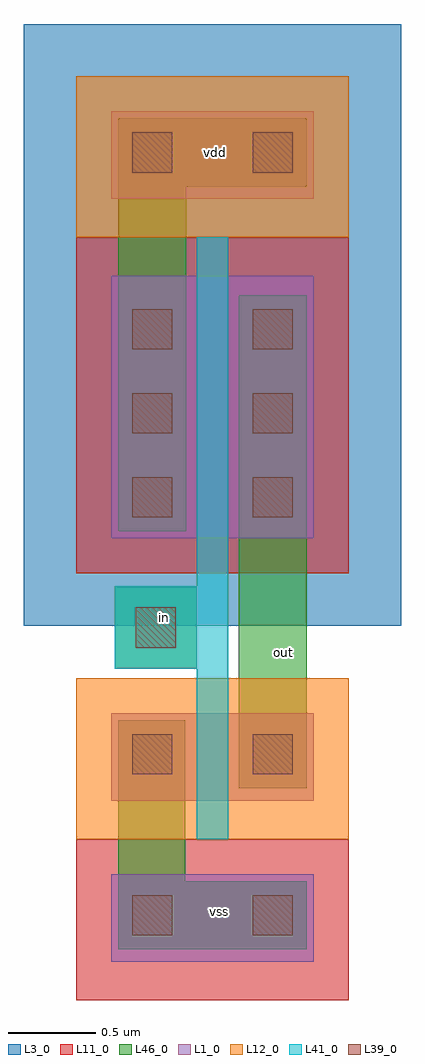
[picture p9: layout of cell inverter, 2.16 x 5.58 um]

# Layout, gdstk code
import gdstk
lib = gdstk.Library(unit=1e-6, precision=1e-09)
def R(c, l, rs):  # rectangles x0, y0, x1, y1
    for r in rs: c.add(gdstk.rectangle(r[:2], r[2:], *l))
def A(c, l, x, y, w, h, nx, ny, dx, dy):  # array of equal rectangles
    R(c, l, [(x+i*dx, y+j*dy, x+i*dx+w, y+j*dy+h) for i in range(nx) for j in range(ny)])
L1_0 = (1, 0)
L3_0 = (3, 0)
L11_0 = (11, 0)
L12_0 = (12, 0)
L39_0 = (39, 0)
L41_0 = (41, 0)
L46_0 = (46, 0)

inverter = lib.new_cell('inverter')
R(inverter, L1_0, [(-0.465,-1.52,0.695,-1.02), (-0.465,-0.6,0.695,-0.1), (-0.465,0.9,0.695,2.4), (-0.465,2.84,0.695,3.34)])
R(inverter, L3_0, [(-0.965,0.4,1.195,3.84)])
R(inverter, L11_0, [(-0.665,-1.74,0.895,-0.82), (-0.665,0.7,0.895,2.62)])
R(inverter, L12_0, [(-0.665,-0.82,0.895,0.1), (-0.665,2.62,0.895,3.54)])
A(inverter, L39_0, -0.345, 1.02, 0.23, 0.23, 1, 3, 0, 0.48)
A(inverter, L39_0, 0.345, 1.02, 0.23, 0.23, 1, 3, 0, 0.48)
R(inverter, L39_0, [(-0.345,-1.37,-0.115,-1.14), (0.345,-1.37,0.575,-1.14), (-0.345,-0.45,-0.115,-0.22), (0.345,-0.45,0.575,-0.22), (-0.325,0.275,-0.095,0.505), (-0.345,2.99,-0.115,3.22), (0.345,2.99,0.575,3.22)])
R(inverter, L41_0, [(0.025,-0.82,0.205,2.62), (-0.445,0.155,0.025,0.625)])
R(inverter, L46_0, [(-0.425,-1.45,0.655,-1.06), (-0.425,-1.45,-0.04,-0.14), (0.265,-0.53,0.655,2.29), (-0.445,0.155,0.025,0.625), (-0.425,0.94,-0.035,3.3), (-0.42,2.91,0.655,3.3)])
inverter.add(gdstk.Label('vss', (0.155,-1.235), layer=101, texttype=0))
inverter.add(gdstk.Label('in', (-0.16,0.445), layer=101, texttype=0))
inverter.add(gdstk.Label('out', (0.52,0.245), layer=101, texttype=0))
inverter.add(gdstk.Label('vdd', (0.135,3.105), layer=101, texttype=0))

lib.write_gds('inverter.gds')
